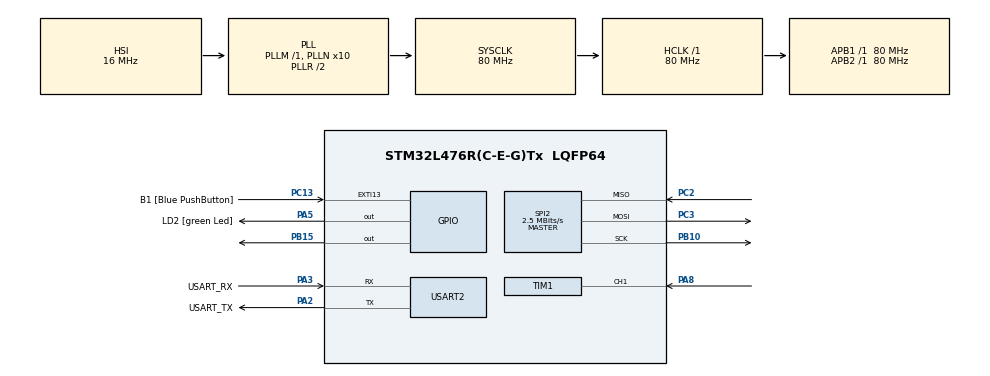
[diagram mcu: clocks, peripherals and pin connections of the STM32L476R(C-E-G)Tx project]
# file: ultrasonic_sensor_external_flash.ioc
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Mcu.Family=STM32L4
Mcu.Name=STM32L476R(C-E-G)Tx
Mcu.Package=LQFP64
NVIC.PriorityGroup=NVIC_PRIORITYGROUP_4
NVIC.TIM1_CC_IRQn=true\:0\:0\:false\:false\:true\:true\:true\:true
PA13\ (JTMS-SWDIO).GPIO_Label=TMS
PA13\ (JTMS-SWDIO).Mode=Serial_Wire
PA13\ (JTMS-SWDIO).Signal=SYS_JTMS-SWDIO
PA14\ (JTCK-SWCLK).GPIO_Label=TCK
PA14\ (JTCK-SWCLK).Mode=Serial_Wire
PA14\ (JTCK-SWCLK).Signal=SYS_JTCK-SWCLK
PA2.GPIO_Label=USART_TX
PA2.GPIO_Mode=GPIO_MODE_AF_PP
PA2.GPIO_PuPd=GPIO_NOPULL
PA2.GPIO_Speed=GPIO_SPEED_FREQ_VERY_HIGH
PA2.Mode=Asynchronous
PA2.Signal=USART2_TX
PA3.GPIO_Label=USART_RX
PA3.GPIO_Mode=GPIO_MODE_AF_PP
PA3.GPIO_PuPd=GPIO_NOPULL
PA3.GPIO_Speed=GPIO_SPEED_FREQ_VERY_HIGH
PA3.Mode=Asynchronous
PA3.Signal=USART2_RX
PA5.GPIO_Label=LD2 [green Led]
PA5.GPIO_ModeDefaultOutputPP=GPIO_MODE_OUTPUT_PP
PA5.GPIO_PuPd=GPIO_NOPULL
PA5.GPIO_Speed=GPIO_SPEED_FREQ_LOW
PA5.Signal=GPIO_Output
PA8.Signal=S_TIM1_CH1
PB10.Mode=Full_Duplex_Master
PB10.Signal=SPI2_SCK
PB15.Signal=GPIO_Output
PB3\ (JTDO-TRACESWO).GPIO_Label=SWO
PB3\ (JTDO-TRACESWO).Signal=SYS_JTDO-SWO
PC13.GPIO_Label=B1 [Blue PushButton]
PC13.GPIO_ModeDefaultEXTI=GPIO_MODE_IT_FALLING
PC13.GPIO_PuPd=GPIO_NOPULL
PC13.Signal=GPXTI13
PC14-OSC32_IN\ (PC14).Mode=LSE-External-Oscillator
PC14-OSC32_IN\ (PC14).Signal=RCC_OSC32_IN
PC15-OSC32_OUT\ (PC15).Mode=LSE-External-Oscillator
PC15-OSC32_OUT\ (PC15).Signal=RCC_OSC32_OUT
PC2.Mode=Full_Duplex_Master
PC2.Signal=SPI2_MISO
PC3.Mode=Full_Duplex_Master
PC3.Signal=SPI2_MOSI
PH0-OSC_IN\ (PH0).Signal=RCC_OSC_IN
PH1-OSC_OUT\ (PH1).Signal=RCC_OSC_OUT
ProjectManager.HeapSize=0x200
ProjectManager.StackSize=0x400
ProjectManager.TargetToolchain=STM32CubeIDE
RCC.ADCFreq_Value=64000000
RCC.AHBFreq_Value=80000000
RCC.APB1Freq_Value=80000000
RCC.APB1TimFreq_Value=80000000
RCC.APB2Freq_Value=80000000
RCC.APB2TimFreq_Value=80000000
RCC.CortexFreq_Value=80000000
RCC.HCLKFreq_Value=80000000
RCC.HSE_VALUE=8000000
RCC.HSI_VALUE=16000000
RCC.MSI_VALUE=4000000
RCC.PLLN=10
RCC.PLLSourceVirtual=RCC_PLLSOURCE_HSI
RCC.PREFETCH_ENABLE=1
RCC.SYSCLKFreq_VALUE=80000000
RCC.SYSCLKSource=RCC_SYSCLKSOURCE_PLLCLK
RCC.USBFreq_Value=64000000
RCC.VCOOutputFreq_Value=160000000
SH.S_TIM1_CH1.0=TIM1_CH1,Input_Capture1_from_TI1
SPI2.BaudRatePrescaler=SPI_BAUDRATEPRESCALER_32
SPI2.CalculateBaudRate=2.5 MBits/s
SPI2.DataSize=SPI_DATASIZE_8BIT
SPI2.Direction=SPI_DIRECTION_2LINES
SPI2.Mode=SPI_MODE_MASTER
SPI2.VirtualType=VM_MASTER
TIM1.Channel-Input_Capture1_from_TI1=TIM_CHANNEL_1
TIM1.Period=65535-1
TIM1.Prescaler=80-1
USART2.VirtualMode-Asynchronous=VM_ASYNC
board=NUCLEO-L476RG

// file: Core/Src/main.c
/* USER CODE BEGIN Header */
/**
  ******************************************************************************
  * @file           : main.c
  * @brief          : Main program body
  ******************************************************************************
  * @attention
  *
  * Copyright (c) 2025 STMicroelectronics.
  * All rights reserved.
  *
  * This software is licensed under terms that can be found in the LICENSE file
  * in the root directory of this software component.
  * If no LICENSE file comes with this software, it is provided AS-IS.
  *
  ******************************************************************************
  */
/* USER CODE END Header */
#include "main.h"

/* USER CODE BEGIN Includes */
#include"w25qxx.h"
#include<stdio.h>
#include<string.h>
#include<stdarg.h>
/* USER CODE END Includes */

SPI_HandleTypeDef hspi2;

TIM_HandleTypeDef htim1;

UART_HandleTypeDef huart2;

void SystemClock_Config(void);
static void MX_GPIO_Init(void);
static void MX_USART2_UART_Init(void);
static void MX_TIM1_Init(void);
static void MX_SPI2_Init(void);

/* USER CODE BEGIN 0 */
uint32_t IC_Val1 = 0;
uint32_t IC_Val2 = 0;
uint32_t Difference = 0;
uint8_t Is_First_Captured = 0;  // is the first value captured ?
uint16_t Distance  = 0 , object_present;
uint8_t first[]="object entered into range:";
uint8_t second[]="object removed from range";
uint32_t ID;

#define TRIG_PIN GPIO_PIN_15
#define TRIG_PORT GPIOB

void HAL_TIM_IC_CaptureCallback(TIM_HandleTypeDef *htim)
{
	if (htim->Channel == HAL_TIM_ACTIVE_CHANNEL_1)  // if the interrupt source is channel1
	{
		if (Is_First_Captured==0) // if the first value is not captured
		{
			IC_Val1 = HAL_TIM_ReadCapturedValue(htim, TIM_CHANNEL_1); // read the first value
			Is_First_Captured = 1;  // set the first captured as true
			// Now change the polarity to falling edge
			__HAL_TIM_SET_CAPTUREPOLARITY(htim, TIM_CHANNEL_1, TIM_INPUTCHANNELPOLARITY_FALLING);
		}

		else if (Is_First_Captured==1)   // if the first is already captured
		{
			IC_Val2 = HAL_TIM_ReadCapturedValue(htim, TIM_CHANNEL_1);  // read second value
			__HAL_TIM_SET_COUNTER(htim, 0);  // reset the counter

			if (IC_Val2 > IC_Val1)
			{
				Difference = IC_Val2-IC_Val1;
			}

			else if (IC_Val1 > IC_Val2)
			{
				Difference = (0xffff - IC_Val1) + IC_Val2;
			}

			Distance = Difference * .034/2;
			Is_First_Captured = 0; // set it back to false

			// set polarity to rising edge
			__HAL_TIM_SET_CAPTUREPOLARITY(htim, TIM_CHANNEL_1, TIM_INPUTCHANNELPOLARITY_RISING);
			__HAL_TIM_DISABLE_IT(&htim1, TIM_IT_CC1);
		}
	}
}

uint16_t HCSR04_Read(void)
{
    uint32_t timeout = 0;

    // Send 10us pulse
    HAL_GPIO_WritePin(TRIG_PORT, TRIG_PIN, GPIO_PIN_SET);

    // crude ~10us delay (assuming 80 MHz core, 100 iterations ≈ 1 us)
    for (volatile int i = 0; i < 800; i++);

    HAL_GPIO_WritePin(TRIG_PORT, TRIG_PIN, GPIO_PIN_RESET);

    // enable capture interrupt
    __HAL_TIM_ENABLE_IT(&htim1, TIM_IT_CC1);

    // wait for measurement to complete or timeout (~30 ms max)
    timeout = HAL_GetTick();
    while (Is_First_Captured || Distance == 0)
    {
        if ((HAL_GetTick() - timeout) > 30) // 30 ms timeout
        {
            Distance = 0; // no object detected
            break;
        }
    }

    return Distance;  // in cm
}

/* USER CODE END 0 */

int main(void)
{

  /* MCU Configuration--------------------------------------------------------*/

  /* Reset of all peripherals, Initializes the Flash interface and the Systick. */
  HAL_Init();

  /* Configure the system clock */
  SystemClock_Config();

  /* Initialize all configured peripherals */
  MX_GPIO_Init();
  MX_USART2_UART_Init();
  MX_TIM1_Init();
  MX_SPI2_Init();
  /* USER CODE BEGIN 2 */
  //printf("ultasonic sensor sending signals:");
  HAL_TIM_IC_Start_IT(&htim1, TIM_CHANNEL_1);
  uint8_t str[]="hello external flash";
  HAL_UART_Transmit(&huart2,str,strlen((char*)str), 100);
  W25Q_RESET();
  ID = W25_ReadID();
  /* USER CODE END 2 */

  /* Infinite loop */
  /* USER CODE BEGIN WHILE */
  uint8_t cnt=0;
  while (1)
    {
        Distance = HCSR04_Read();
        uint16_t d;
        if (Distance > 0 && Distance < 150)  // object detected within 150 cm
        {
            if (object_present == 0)  // just entered range
            {
                char msg[50];
                sprintf(msg, "%s Distance=%u cm\r\n",(char*)first, Distance);
                HAL_UART_Transmit(&huart2, (uint8_t*)msg, strlen(msg), 100);
                flash_write(cnt++,0,strlen(msg),(uint8_t*)msg);

                object_present = 1;  // mark as present
            }
            d=Distance;
            // else: do nothing, object still in range
        }
        else  // no object or out of range
        {
            if (object_present == 1)  // just removed
            {
          	   cnt++;
          	   char msg[50];
  			   sprintf(msg, "%s Distance=%u cm\r\n",(char*)second, d);
  			   HAL_UART_Transmit(&huart2, (uint8_t*)msg, strlen(msg), 100);
  			   flash_write(cnt++,0,strlen(msg),(uint8_t*)msg);
               object_present = 0;  // mark as removed
            }
            // else: do nothing, still no object
        }

        if(cnt>10)
        {
        	cnt=0;
        }
        HAL_Delay(200); // small delay to reduce trigger spam

    }
  /* USER CODE END 3 */
}

void SystemClock_Config(void)
{
  RCC_OscInitTypeDef RCC_OscInitStruct = {0};
  RCC_ClkInitTypeDef RCC_ClkInitStruct = {0};

  /** Configure the main internal regulator output voltage
  */
  if (HAL_PWREx_ControlVoltageScaling(PWR_REGULATOR_VOLTAGE_SCALE1) != HAL_OK)
  {
    Error_Handler();
  }

  /** Initializes the RCC Oscillators according to the specified parameters
  * in the RCC_OscInitTypeDef structure.
  */
  RCC_OscInitStruct.OscillatorType = RCC_OSCILLATORTYPE_HSI;
  RCC_OscInitStruct.HSIState = RCC_HSI_ON;
  RCC_OscInitStruct.HSICalibrationValue = RCC_HSICALIBRATION_DEFAULT;
  RCC_OscInitStruct.PLL.PLLState = RCC_PLL_ON;
  RCC_OscInitStruct.PLL.PLLSource = RCC_PLLSOURCE_HSI;
  RCC_OscInitStruct.PLL.PLLM = 1;
  RCC_OscInitStruct.PLL.PLLN = 10;
  RCC_OscInitStruct.PLL.PLLP = RCC_PLLP_DIV7;
  RCC_OscInitStruct.PLL.PLLQ = RCC_PLLQ_DIV2;
  RCC_OscInitStruct.PLL.PLLR = RCC_PLLR_DIV2;
  if (HAL_RCC_OscConfig(&RCC_OscInitStruct) != HAL_OK)
  {
    Error_Handler();
  }

  /** Initializes the CPU, AHB and APB buses clocks
  */
  RCC_ClkInitStruct.ClockType = RCC_CLOCKTYPE_HCLK|RCC_CLOCKTYPE_SYSCLK
                              |RCC_CLOCKTYPE_PCLK1|RCC_CLOCKTYPE_PCLK2;
  RCC_ClkInitStruct.SYSCLKSource = RCC_SYSCLKSOURCE_PLLCLK;
  RCC_ClkInitStruct.AHBCLKDivider = RCC_SYSCLK_DIV1;
  RCC_ClkInitStruct.APB1CLKDivider = RCC_HCLK_DIV1;
  RCC_ClkInitStruct.APB2CLKDivider = RCC_HCLK_DIV1;

  if (HAL_RCC_ClockConfig(&RCC_ClkInitStruct, FLASH_LATENCY_4) != HAL_OK)
  {
    Error_Handler();
  }
}

static void MX_SPI2_Init(void)
{

  /* SPI2 parameter configuration*/
  hspi2.Instance = SPI2;
  hspi2.Init.Mode = SPI_MODE_MASTER;
  hspi2.Init.Direction = SPI_DIRECTION_2LINES;
  hspi2.Init.DataSize = SPI_DATASIZE_8BIT;
  hspi2.Init.CLKPolarity = SPI_POLARITY_LOW;
  hspi2.Init.CLKPhase = SPI_PHASE_1EDGE;
  hspi2.Init.NSS = SPI_NSS_SOFT;
  hspi2.Init.BaudRatePrescaler = SPI_BAUDRATEPRESCALER_32;
  hspi2.Init.FirstBit = SPI_FIRSTBIT_MSB;
  hspi2.Init.TIMode = SPI_TIMODE_DISABLE;
  hspi2.Init.CRCCalculation = SPI_CRCCALCULATION_DISABLE;
  hspi2.Init.CRCPolynomial = 7;
  hspi2.Init.CRCLength = SPI_CRC_LENGTH_DATASIZE;
  hspi2.Init.NSSPMode = SPI_NSS_PULSE_ENABLE;
  if (HAL_SPI_Init(&hspi2) != HAL_OK)
  {
    Error_Handler();
  }

}

static void MX_TIM1_Init(void)
{

  TIM_MasterConfigTypeDef sMasterConfig = {0};
  TIM_IC_InitTypeDef sConfigIC = {0};

  htim1.Instance = TIM1;
  htim1.Init.Prescaler = 80-1;
  htim1.Init.CounterMode = TIM_COUNTERMODE_UP;
  htim1.Init.Period = 65535-1;
  htim1.Init.ClockDivision = TIM_CLOCKDIVISION_DIV1;
  htim1.Init.RepetitionCounter = 0;
  htim1.Init.AutoReloadPreload = TIM_AUTORELOAD_PRELOAD_DISABLE;
  if (HAL_TIM_IC_Init(&htim1) != HAL_OK)
  {
    Error_Handler();
  }
  sMasterConfig.MasterOutputTrigger = TIM_TRGO_RESET;
  sMasterConfig.MasterOutputTrigger2 = TIM_TRGO2_RESET;
  sMasterConfig.MasterSlaveMode = TIM_MASTERSLAVEMODE_DISABLE;
  if (HAL_TIMEx_MasterConfigSynchronization(&htim1, &sMasterConfig) != HAL_OK)
  {
    Error_Handler();
  }
  sConfigIC.ICPolarity = TIM_INPUTCHANNELPOLARITY_RISING;
  sConfigIC.ICSelection = TIM_ICSELECTION_DIRECTTI;
  sConfigIC.ICPrescaler = TIM_ICPSC_DIV1;
  sConfigIC.ICFilter = 0;
  if (HAL_TIM_IC_ConfigChannel(&htim1, &sConfigIC, TIM_CHANNEL_1) != HAL_OK)
  {
    Error_Handler();
  }

}

static void MX_USART2_UART_Init(void)
{

  huart2.Instance = USART2;
  huart2.Init.BaudRate = 115200;
  huart2.Init.WordLength = UART_WORDLENGTH_8B;
  huart2.Init.StopBits = UART_STOPBITS_1;
  huart2.Init.Parity = UART_PARITY_NONE;
  huart2.Init.Mode = UART_MODE_TX_RX;
  huart2.Init.HwFlowCtl = UART_HWCONTROL_NONE;
  huart2.Init.OverSampling = UART_OVERSAMPLING_16;
  huart2.Init.OneBitSampling = UART_ONE_BIT_SAMPLE_DISABLE;
  huart2.AdvancedInit.AdvFeatureInit = UART_ADVFEATURE_NO_INIT;
  if (HAL_UART_Init(&huart2) != HAL_OK)
  {
    Error_Handler();
  }

}

static void MX_GPIO_Init(void)
{
  GPIO_InitTypeDef GPIO_InitStruct = {0};

  /* GPIO Ports Clock Enable */
  __HAL_RCC_GPIOC_CLK_ENABLE();
  __HAL_RCC_GPIOH_CLK_ENABLE();
  __HAL_RCC_GPIOA_CLK_ENABLE();
  __HAL_RCC_GPIOB_CLK_ENABLE();

  /*Configure GPIO pin Output Level */
  HAL_GPIO_WritePin(LD2_GPIO_Port, LD2_Pin, GPIO_PIN_RESET);

  /*Configure GPIO pin Output Level */
  HAL_GPIO_WritePin(GPIOB, GPIO_PIN_15, GPIO_PIN_RESET);

  /*Configure GPIO pin : B1_Pin */
  GPIO_InitStruct.Pin = B1_Pin;
  GPIO_InitStruct.Mode = GPIO_MODE_IT_FALLING;
  GPIO_InitStruct.Pull = GPIO_NOPULL;
  HAL_GPIO_Init(B1_GPIO_Port, &GPIO_InitStruct);

  /*Configure GPIO pin : LD2_Pin */
  GPIO_InitStruct.Pin = LD2_Pin;
  GPIO_InitStruct.Mode = GPIO_MODE_OUTPUT_PP;
  GPIO_InitStruct.Pull = GPIO_NOPULL;
  GPIO_InitStruct.Speed = GPIO_SPEED_FREQ_LOW;
  HAL_GPIO_Init(LD2_GPIO_Port, &GPIO_InitStruct);

  /*Configure GPIO pin : PB15 */
  GPIO_InitStruct.Pin = GPIO_PIN_15;
  GPIO_InitStruct.Mode = GPIO_MODE_OUTPUT_PP;
  GPIO_InitStruct.Pull = GPIO_NOPULL;
  GPIO_InitStruct.Speed = GPIO_SPEED_FREQ_LOW;
  HAL_GPIO_Init(GPIOB, &GPIO_InitStruct);

  /* USER CODE BEGIN MX_GPIO_Init_2 */
  GPIO_InitStruct.Pin = GPIO_PIN_8;
  GPIO_InitStruct.Mode = GPIO_MODE_AF_PP;
  GPIO_InitStruct.Pull = GPIO_NOPULL;
  GPIO_InitStruct.Speed = GPIO_SPEED_FREQ_LOW;
  GPIO_InitStruct.Alternate = GPIO_AF1_TIM1;
  HAL_GPIO_Init(GPIOA, &GPIO_InitStruct);

  /* USER CODE END MX_GPIO_Init_2 */
}

void Error_Handler(void)
{
  __disable_irq();
  while (1)
  {
  }
}
